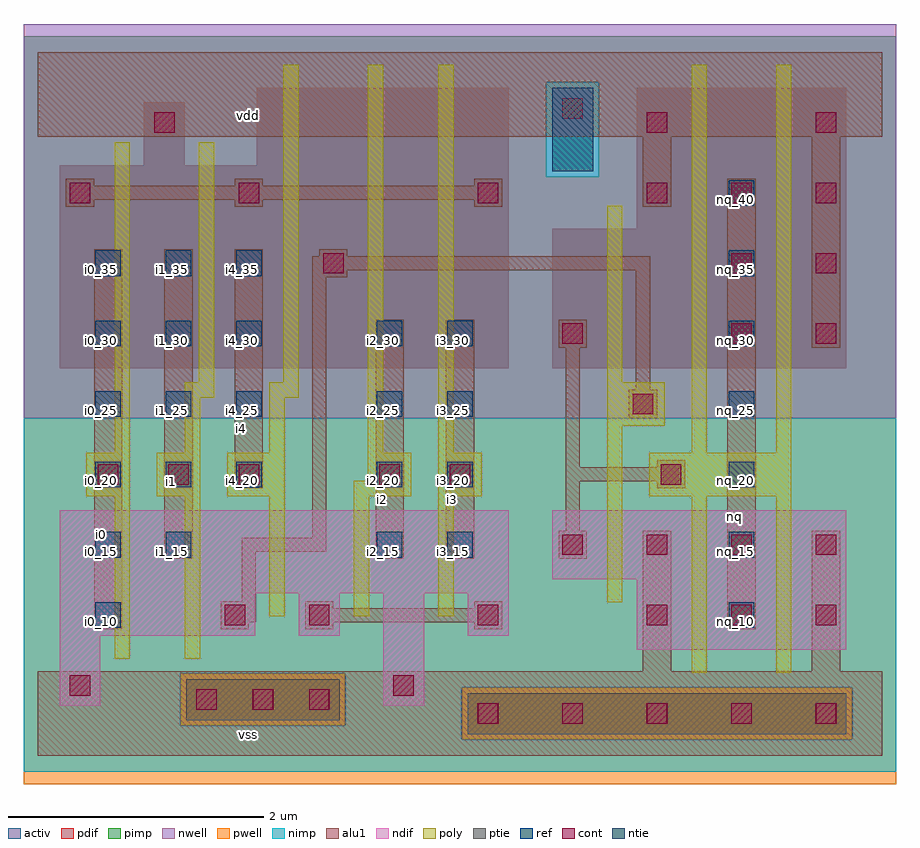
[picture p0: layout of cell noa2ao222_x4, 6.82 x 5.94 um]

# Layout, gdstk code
import gdstk
lib = gdstk.Library(unit=1e-6, precision=2.5e-09)
def R(c, l, rs):  # rectangles x0, y0, x1, y1
    for r in rs: c.add(gdstk.rectangle(r[:2], r[2:], *l))
def A(c, l, x, y, w, h, nx, ny, dx, dy):  # array of equal rectangles
    R(c, l, [(x+i*dx, y+j*dy, x+i*dx+w, y+j*dy+h) for i in range(nx) for j in range(ny)])
ndif = (3, 0)
pdif = (4, 0)
ntie = (5, 0)
ptie = (6, 0)
ref = (24, 0)
cont = (25, 0)
pwell = (41, 0)
nwell = (42, 0)
activ = (43, 0)
pimp = (44, 0)
nimp = (45, 0)
poly = (46, 0)
alu1 = (49, 0)

noa2ao222_x4 = lib.new_cell('noa2ao222_x4')
R(noa2ao222_x4, ndif, [(0.17,0.39,0.49,0.94), (0.17,0.39,0.49,0.94), (2.7,0.39,3.02,1.27), (2.7,0.39,3.02,1.27), (4.68,0.83,6.32,1.38), (4.68,0.83,6.32,1.38), (0.17,0.94,1.7,1.27), (0.17,0.94,1.7,1.27), (2.04,0.94,2.36,1.27), (2.04,0.94,2.36,1.27), (3.36,0.94,3.68,1.27), (3.36,0.94,3.68,1.27), (0.17,1.27,3.68,1.92), (0.17,1.27,3.68,1.92), (4.02,1.38,6.32,1.92), (4.02,1.38,6.32,1.92)])
R(noa2ao222_x4, pdif, [(0.17,3.03,3.68,4.615), (0.17,3.03,3.68,4.615), (4.02,3.03,6.32,4.12), (4.02,3.03,6.32,4.12), (4.68,4.12,6.32,5.22), (4.68,4.12,6.32,5.22), (0.83,4.615,1.15,5.11), (0.83,4.615,1.15,5.11), (1.71,4.615,3.68,5.22), (1.71,4.615,3.68,5.22)])
R(noa2ao222_x4, ntie, [(4.02,4.57,4.34,5.22), (4.02,4.57,4.34,5.22)])
R(noa2ao222_x4, ptie, [(3.36,0.17,6.32,0.49), (3.36,0.17,6.32,0.49), (1.16,0.28,2.36,0.6), (1.16,0.28,2.36,0.6)])
A(noa2ao222_x4, ref, 5.4, 1, 0.2, 0.2, 1, 7, 0, 0.55)
A(noa2ao222_x4, ref, 2.65, 1.55, 0.2, 0.2, 1, 4, 0, 0.55)
A(noa2ao222_x4, ref, 3.2, 1.55, 0.2, 0.2, 1, 4, 0, 0.55)
A(noa2ao222_x4, ref, 0.45, 2.1, 0.2, 0.2, 3, 4, 0.55, 0.55)
R(noa2ao222_x4, ref, [(0.45,1,0.65,1.2), (0.45,1.55,0.65,1.75), (1,1.55,1.2,1.75)])
A(noa2ao222_x4, cont, 3.44, 0.25, 0.16, 0.16, 5, 1, 0.66, 0)
A(noa2ao222_x4, cont, 1.24, 0.36, 0.16, 0.16, 3, 1, 0.44, 0)
A(noa2ao222_x4, cont, 2.12, 1.02, 0.16, 0.16, 3, 1, 1.32, 0)
A(noa2ao222_x4, cont, 4.1, 1.57, 0.16, 0.16, 4, 1, 0.66, 0)
A(noa2ao222_x4, cont, 0.47, 2.12, 0.16, 0.16, 3, 1, 0.55, 0)
A(noa2ao222_x4, cont, 4.76, 4.32, 0.16, 0.16, 3, 1, 0.66, 0)
R(noa2ao222_x4, cont, [(0.25,0.47,0.41,0.63), (2.78,0.47,2.94,0.63), (1.46,1.02,1.62,1.18), (5.42,1.02,5.58,1.18), (6.08,1.02,6.24,1.18), (2.67,2.12,2.83,2.28), (3.22,2.12,3.38,2.28), (4.87,2.12,5.03,2.28), (4.65,2.67,4.81,2.83), (4.1,3.22,4.26,3.38), (5.42,3.22,5.58,3.38), (6.08,3.22,6.24,3.38), (2.23,3.77,2.39,3.93), (5.42,3.77,5.58,3.93), (6.08,3.77,6.24,3.93), (0.25,4.32,0.41,4.48), (1.57,4.32,1.73,4.48), (3.44,4.32,3.6,4.48), (0.91,4.87,1.07,5.03), (4.76,4.87,4.92,5.03), (6.08,4.87,6.24,5.03), (4.1,4.98,4.26,5.14)])
R(noa2ao222_x4, pwell, [(-0.11,-0.22,6.71,2.64)])
R(noa2ao222_x4, nwell, [(-0.11,2.64,6.71,5.72)])
R(noa2ao222_x4, activ, [(3.36,0.17,6.32,0.49), (3.36,0.17,6.32,0.49), (1.16,0.28,2.36,0.6), (1.16,0.28,2.36,0.6), (0.17,0.39,0.49,0.94), (0.17,0.39,0.49,0.94), (2.7,0.39,3.02,1.27), (2.7,0.39,3.02,1.27), (4.68,0.83,6.32,1.38), (4.68,0.83,6.32,1.38), (0.17,0.94,1.7,1.27), (0.17,0.94,1.7,1.27), (2.04,0.94,2.36,1.27), (2.04,0.94,2.36,1.27), (3.36,0.94,3.68,1.27), (3.36,0.94,3.68,1.27), (0.17,1.27,3.68,1.92), (0.17,1.27,3.68,1.92), (4.02,1.38,6.32,1.92), (4.02,1.38,6.32,1.92), (0.17,3.03,3.68,4.615), (0.17,3.03,3.68,4.615), (4.02,3.03,6.32,4.12), (4.02,3.03,6.32,4.12), (4.68,4.12,6.32,5.22), (4.68,4.12,6.32,5.22), (4.02,4.57,4.34,5.22), (4.02,4.57,4.34,5.22), (0.83,4.615,1.15,5.11), (0.83,4.615,1.15,5.11), (1.71,4.615,3.68,5.22), (1.71,4.615,3.68,5.22)])
R(noa2ao222_x4, pimp, [(3.315,0.125,6.365,0.535), (1.115,0.235,2.405,0.645), (-0.11,2.64,6.71,4.525), (-0.11,4.525,3.975,5.265), (4.385,4.525,6.71,5.265), (-0.11,5.265,6.71,5.625)])
R(noa2ao222_x4, nimp, [(-0.11,-0.125,6.71,0.125), (-0.11,0.125,3.315,0.235), (6.365,0.125,6.71,0.535), (-0.11,0.235,1.115,0.645), (2.405,0.235,3.315,0.535), (2.405,0.535,6.71,0.645), (-0.11,0.645,6.71,2.64), (3.975,4.525,4.385,5.265)])
A(noa2ao222_x4, poly, 1.81, 1.09, 0.12, 0.94, 3, 1, 0.66, 0)
R(noa2ao222_x4, poly, [(5.11,0.65,5.23,2.03), (5.77,0.65,5.89,2.03), (0.6,0.76,0.72,2.03), (1.15,0.76,1.27,2.03), (4.45,1.2,4.57,2.58), (0.38,2.03,0.72,2.37), (0.93,2.03,1.27,2.37), (1.48,2.03,1.93,2.37), (2.47,2.03,2.92,2.15), (3.13,2.03,3.47,2.37), (4.78,2.03,5.89,2.37), (2.58,2.15,2.92,2.37), (0.6,2.37,0.72,4.795), (1.15,2.37,1.27,2.8), (1.81,2.37,1.93,2.8), (2.58,2.37,2.7,5.4), (3.13,2.37,3.25,5.4), (5.11,2.37,5.23,5.4), (5.77,2.37,5.89,5.4), (4.45,2.58,4.9,2.92), (1.15,2.8,1.38,2.92), (1.81,2.8,2.04,2.92), (1.26,2.92,1.38,4.795), (1.92,2.92,2.04,5.4), (4.45,2.92,4.57,4.3)])
R(noa2ao222_x4, alu1, [(0,0,6.6,0.66), (4.73,0.66,4.95,1.76), (6.05,0.66,6.27,1.76), (0.44,0.99,0.66,3.96), (1.43,0.99,1.65,1.045), (2.09,0.99,2.31,1.045), (3.41,0.99,3.63,1.045), (5.39,0.99,5.61,4.51), (1.43,1.045,1.705,1.21), (2.09,1.045,3.63,1.155), (2.09,1.155,2.31,1.21), (3.41,1.155,3.63,1.21), (1.595,1.21,1.705,1.595), (0.99,1.54,1.21,3.96), (2.64,1.54,2.86,3.41), (3.19,1.54,3.41,3.41), (4.07,1.54,4.29,1.76), (1.595,1.595,2.255,1.705), (2.145,1.705,2.255,3.74), (4.125,1.76,4.235,2.145), (1.54,2.09,1.76,3.96), (4.84,2.09,5.06,2.145), (4.125,2.145,5.06,2.255), (4.125,2.255,4.235,3.19), (4.84,2.255,5.06,2.31), (4.62,2.64,4.84,2.86), (4.675,2.86,4.785,3.795), (4.07,3.19,4.29,3.41), (6.05,3.19,6.27,4.84), (2.145,3.74,2.42,3.795), (2.145,3.795,4.785,3.905), (2.2,3.905,2.42,3.96), (0.22,4.29,0.44,4.345), (1.54,4.29,1.76,4.345), (3.41,4.29,3.63,4.345), (4.73,4.29,4.95,4.84), (0.22,4.345,3.63,4.455), (0.22,4.455,0.44,4.51), (1.54,4.455,1.76,4.51), (3.41,4.455,3.63,4.51), (0,4.84,6.6,5.5)])
noa2ao222_x4.add(gdstk.Label('vss', (1.65,0.165), layer=49, texttype=0))
noa2ao222_x4.add(gdstk.Label('nq', (5.445,1.87), layer=49, texttype=0))
noa2ao222_x4.add(gdstk.Label('i3', (3.245,2.0075), layer=49, texttype=0))
noa2ao222_x4.add(gdstk.Label('i2', (2.695,2.0075), layer=49, texttype=0))
noa2ao222_x4.add(gdstk.Label('i4', (1.595,2.5575), layer=49, texttype=0))
noa2ao222_x4.add(gdstk.Label('i1', (1.045,2.145), layer=49, texttype=0))
noa2ao222_x4.add(gdstk.Label('i0', (0.495,1.7325), layer=49, texttype=0))
noa2ao222_x4.add(gdstk.Label('vdd', (1.65,5.005), layer=49, texttype=0))
noa2ao222_x4.add(gdstk.Label('nq_40', (5.45,4.35), layer=24, texttype=0))
noa2ao222_x4.add(gdstk.Label('nq_20', (5.45,2.15), layer=24, texttype=0))
noa2ao222_x4.add(gdstk.Label('nq_25', (5.45,2.7), layer=24, texttype=0))
noa2ao222_x4.add(gdstk.Label('nq_30', (5.45,3.25), layer=24, texttype=0))
noa2ao222_x4.add(gdstk.Label('nq_10', (5.45,1.05), layer=24, texttype=0))
noa2ao222_x4.add(gdstk.Label('nq_35', (5.45,3.8), layer=24, texttype=0))
noa2ao222_x4.add(gdstk.Label('nq_15', (5.45,1.6), layer=24, texttype=0))
noa2ao222_x4.add(gdstk.Label('i0_10', (0.5,1.05), layer=24, texttype=0))
noa2ao222_x4.add(gdstk.Label('i0_15', (0.5,1.6), layer=24, texttype=0))
noa2ao222_x4.add(gdstk.Label('i0_20', (0.5,2.15), layer=24, texttype=0))
noa2ao222_x4.add(gdstk.Label('i0_25', (0.5,2.7), layer=24, texttype=0))
noa2ao222_x4.add(gdstk.Label('i0_30', (0.5,3.25), layer=24, texttype=0))
noa2ao222_x4.add(gdstk.Label('i0_35', (0.5,3.8), layer=24, texttype=0))
noa2ao222_x4.add(gdstk.Label('i1_35', (1.05,3.8), layer=24, texttype=0))
noa2ao222_x4.add(gdstk.Label('i1_30', (1.05,3.25), layer=24, texttype=0))
noa2ao222_x4.add(gdstk.Label('i1_25', (1.05,2.7), layer=24, texttype=0))
noa2ao222_x4.add(gdstk.Label('i1_20', (1.05,2.15), layer=24, texttype=0))
noa2ao222_x4.add(gdstk.Label('i1_15', (1.05,1.6), layer=24, texttype=0))
noa2ao222_x4.add(gdstk.Label('i4_35', (1.6,3.8), layer=24, texttype=0))
noa2ao222_x4.add(gdstk.Label('i4_30', (1.6,3.25), layer=24, texttype=0))
noa2ao222_x4.add(gdstk.Label('i4_25', (1.6,2.7), layer=24, texttype=0))
noa2ao222_x4.add(gdstk.Label('i4_20', (1.6,2.15), layer=24, texttype=0))
noa2ao222_x4.add(gdstk.Label('i2_15', (2.7,1.6), layer=24, texttype=0))
noa2ao222_x4.add(gdstk.Label('i2_20', (2.7,2.15), layer=24, texttype=0))
noa2ao222_x4.add(gdstk.Label('i2_25', (2.7,2.7), layer=24, texttype=0))
noa2ao222_x4.add(gdstk.Label('i2_30', (2.7,3.25), layer=24, texttype=0))
noa2ao222_x4.add(gdstk.Label('i3_15', (3.25,1.6), layer=24, texttype=0))
noa2ao222_x4.add(gdstk.Label('i3_20', (3.25,2.15), layer=24, texttype=0))
noa2ao222_x4.add(gdstk.Label('i3_25', (3.25,2.7), layer=24, texttype=0))
noa2ao222_x4.add(gdstk.Label('i3_30', (3.25,3.25), layer=24, texttype=0))

lib.write_gds('noa2ao222_x4.gds')
